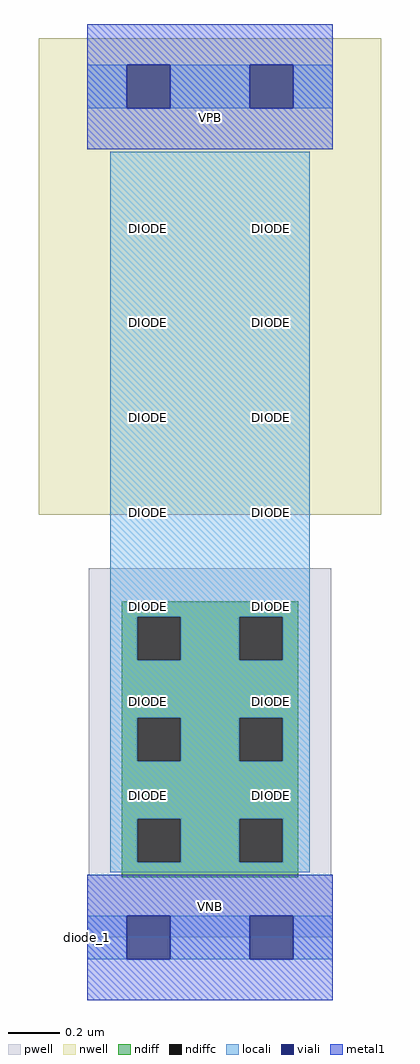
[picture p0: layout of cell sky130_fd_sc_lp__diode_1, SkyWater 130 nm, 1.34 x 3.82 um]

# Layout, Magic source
magic
tech sky130A
magscale 1 2
<< nwell >>
rect -38 331 230 704
<< pwell >>
rect 1 49 191 289
rect 0 0 192 49
<< ndiff >>
rect 27 251 165 263
rect 27 217 39 251
rect 73 217 119 251
rect 153 217 165 251
rect 27 172 165 217
rect 27 138 39 172
rect 73 138 119 172
rect 153 138 165 172
rect 27 93 165 138
rect 27 59 39 93
rect 73 59 119 93
rect 153 59 165 93
rect 27 47 165 59
<< ndiffc >>
rect 39 217 73 251
rect 119 217 153 251
rect 39 138 73 172
rect 119 138 153 172
rect 39 59 73 93
rect 119 59 153 93
<< locali >>
rect 0 649 31 683
rect 65 649 127 683
rect 161 649 192 683
rect 18 251 174 615
rect 18 217 39 251
rect 73 217 119 251
rect 153 217 174 251
rect 18 172 174 217
rect 18 138 39 172
rect 73 138 119 172
rect 153 138 174 172
rect 18 93 174 138
rect 18 59 39 93
rect 73 59 119 93
rect 153 59 174 93
rect 18 51 174 59
rect 0 -17 31 17
rect 65 -17 127 17
rect 161 -17 192 17
<< viali >>
rect 31 649 65 683
rect 127 649 161 683
rect 31 -17 65 17
rect 127 -17 161 17
<< metal1 >>
rect 0 683 192 715
rect 0 649 31 683
rect 65 649 127 683
rect 161 649 192 683
rect 0 617 192 649
rect 0 17 192 49
rect 0 -17 31 17
rect 65 -17 127 17
rect 161 -17 192 17
rect 0 -49 192 -17
<< labels >>
flabel pwell s 0 0 192 49 0 FreeSans 200 0 0 0 VNB
port 3 nsew ground bidirectional
flabel nwell s 0 617 192 666 0 FreeSans 200 0 0 0 VPB
port 4 nsew power bidirectional
flabel locali s 127 538 161 572 0 FreeSans 200 0 0 0 DIODE
port 1 nsew default bidirectional
flabel locali s 31 168 65 202 0 FreeSans 200 0 0 0 DIODE
port 1 nsew default bidirectional
flabel locali s 127 168 161 202 0 FreeSans 200 0 0 0 DIODE
port 1 nsew default bidirectional
flabel locali s 31 94 65 128 0 FreeSans 200 0 0 0 DIODE
port 1 nsew default bidirectional
flabel locali s 127 464 161 498 0 FreeSans 200 0 0 0 DIODE
port 1 nsew default bidirectional
flabel locali s 127 242 161 276 0 FreeSans 200 0 0 0 DIODE
port 1 nsew default bidirectional
flabel locali s 127 390 161 424 0 FreeSans 200 0 0 0 DIODE
port 1 nsew default bidirectional
flabel locali s 31 390 65 424 0 FreeSans 200 0 0 0 DIODE
port 1 nsew default bidirectional
flabel locali s 31 464 65 498 0 FreeSans 200 0 0 0 DIODE
port 1 nsew default bidirectional
flabel locali s 31 538 65 572 0 FreeSans 200 0 0 0 DIODE
port 1 nsew default bidirectional
flabel locali s 127 94 161 128 0 FreeSans 200 0 0 0 DIODE
port 1 nsew default bidirectional
flabel locali s 31 316 65 350 0 FreeSans 200 0 0 0 DIODE
port 1 nsew default bidirectional
flabel locali s 127 316 161 350 0 FreeSans 200 0 0 0 DIODE
port 1 nsew default bidirectional
flabel locali s 31 242 65 276 0 FreeSans 200 0 0 0 DIODE
port 1 nsew default bidirectional
rlabel comment s 0 0 0 0 4 diode_1
flabel metal1 s 0 617 192 666 0 FreeSans 200 0 0 0 VPWR
port 5 nsew power bidirectional
flabel metal1 s 0 0 192 49 0 FreeSans 200 0 0 0 VGND
port 2 nsew ground bidirectional
<< properties >>
string LEFsite unit
string LEFclass CORE ANTENNACELL
string FIXED_BBOX 0 0 192 666
string GDS_FILE $PDKPATH/libs.ref/sky130_fd_sc_lp/gds/sky130_fd_sc_lp.gds
string LEFsymmetry X Y R90
string GDS_END 4378192
string GDS_START 4374374
<< end >>
